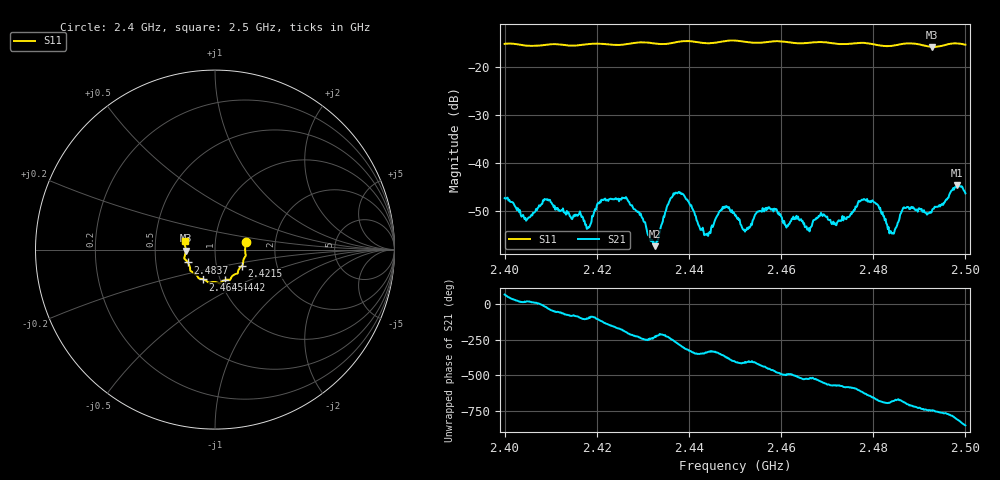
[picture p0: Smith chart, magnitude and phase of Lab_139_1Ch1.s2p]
# Hz S RI R 50
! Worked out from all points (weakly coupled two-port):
!   601 points, 2.4 GHz to 2.5 GHz, reference 50 ohm
!   highest |S21| = -44.68 dB at 2.4982 GHz (marker M1); lowest = -57.5 dB at 2.4327 GHz (marker M2)
!   lowest |S11| = -15.7 dB at 2.4928 GHz (marker M3), VSWR 1.39, Z = 36 - j0.389 ohm
!   |S11| at or under -10 dB: start of sweep to end of sweep
!   S12 and S22 are empty: the file has one direction only
!   S11 on the Smith chart (normalised r, x): 2.4 GHz: 1.41, +0.12; 2.4215 GHz: 1.33, -0.25; 2.4442 GHz: 1.05, -0.37; 2.4645 GHz: 0.83, -0.29; 2.4837 GHz: 0.73, -0.11; 2.5 GHz: 0.71, +0.07
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2.4e9  0.1714 0.0401  0.00188 0.00383  0 0  0 0
2.404667e9  0.1685 0.013  0.00239 0.000633  0 0  0 0
2.409167e9  0.1704 -0.0261  0.00361 -0.00193  0 0  0 0
2.416667e9  0.1568 -0.0697  -0.000548 -0.00265  0 0  0 0
2.418333e9  0.1558 -0.0808  -0.000196 -0.00209  0 0  0 0
2.4215e9  0.1509 -0.0897  -0.00264 -0.0031  0 0  0 0
2.4265e9  0.1294 -0.1181  -0.00398 0.00146  0 0  0 0
2.432667e9  0.113 -0.1365  -0.000908 0.000983  0 0  0 0
2.433333e9  0.1083 -0.1383  -0.0012 0.00105  0 0  0 0
2.437667e9  0.0871 -0.1633  0.000923 0.00481  0 0  0 0
2.444167e9  0.0565 -0.1693  0.00156 0.000704  0 0  0 0
2.4475e9  0.0325 -0.1843  0.00333 -5.54e-05  0 0  0 0
2.45e9  0.025 -0.1891  0.00202 -0.00195  0 0  0 0
2.4645e9  -0.0659 -0.166  -0.00233 -0.000751  0 0  0 0
2.466667e9  -0.0827 -0.162  -0.00205 -0.000736  0 0  0 0
2.478167e9  -0.1381 -0.1154  -0.000192 0.00413  0 0  0 0
2.483333e9  -0.149 -0.0751  0.00185 0.00103  0 0  0 0
2.483667e9  -0.1509 -0.0717  0.00164 0.00101  0 0  0 0
2.487e9  -0.1702 -0.0507  0.00301 0.00149  0 0  0 0
2.492833e9  -0.1633 -0.00526  0.003 -0.00126  0 0  0 0
2.498167e9  -0.1732 0.0411  0.000386 -0.00582  0 0  0 0
2.5e9  -0.1651 0.0504  -0.00302 -0.00371  0 0  0 0
